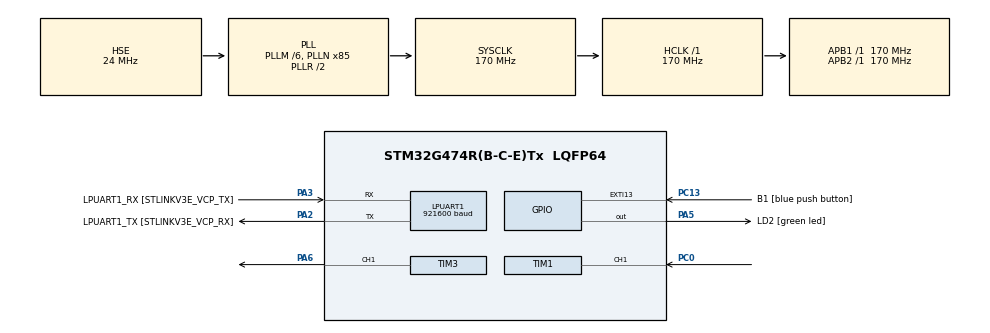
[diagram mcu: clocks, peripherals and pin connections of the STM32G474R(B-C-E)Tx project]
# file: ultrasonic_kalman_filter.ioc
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Dma.LPUART1_TX.0.Direction=DMA_MEMORY_TO_PERIPH
Dma.LPUART1_TX.0.EventEnable=DISABLE
Dma.LPUART1_TX.0.Instance=DMA1_Channel1
Dma.LPUART1_TX.0.MemDataAlignment=DMA_MDATAALIGN_BYTE
Dma.LPUART1_TX.0.MemInc=DMA_MINC_ENABLE
Dma.LPUART1_TX.0.Mode=DMA_NORMAL
Dma.LPUART1_TX.0.PeriphDataAlignment=DMA_PDATAALIGN_BYTE
Dma.LPUART1_TX.0.PeriphInc=DMA_PINC_DISABLE
Dma.LPUART1_TX.0.Polarity=HAL_DMAMUX_REQ_GEN_RISING
Dma.LPUART1_TX.0.Priority=DMA_PRIORITY_MEDIUM
Dma.LPUART1_TX.0.RequestNumber=1
Dma.LPUART1_TX.0.SignalID=NONE
Dma.LPUART1_TX.0.SyncEnable=DISABLE
Dma.LPUART1_TX.0.SyncPolarity=HAL_DMAMUX_SYNC_NO_EVENT
Dma.LPUART1_TX.0.SyncRequestNumber=1
Dma.LPUART1_TX.0.SyncSignalID=NONE
Dma.Request0=LPUART1_TX
LPUART1.BaudRate=921600
Mcu.Family=STM32G4
Mcu.Name=STM32G474R(B-C-E)Tx
Mcu.Package=LQFP64
NVIC.DMA1_Channel1_IRQn=true\:0\:0\:false\:false\:true\:false\:true\:true
NVIC.EXTI15_10_IRQn=true\:0\:0\:false\:false\:true\:true\:true\:true
NVIC.LPUART1_IRQn=true\:0\:0\:false\:false\:true\:true\:true\:true
NVIC.PriorityGroup=NVIC_PRIORITYGROUP_4
NVIC.TIM1_CC_IRQn=true\:0\:0\:false\:false\:true\:true\:true\:true
NVIC.TIM4_IRQn=true\:0\:0\:false\:false\:true\:true\:true\:true
PA13.GPIO_Label=T_SWDIO
PA13.Signal=SYS_JTMS-SWDIO
PA14.GPIO_Label=T_SWCLK
PA14.Signal=SYS_JTCK-SWCLK
PA2.GPIO_Label=LPUART1_TX [STLINKV3E_VCP_RX]
PA2.Mode=Asynchronous
PA2.Signal=LPUART1_TX
PA3.GPIO_Label=LPUART1_RX [STLINKV3E_VCP_TX]
PA3.Mode=Asynchronous
PA3.Signal=LPUART1_RX
PA5.GPIO_Label=LD2 [green led]
PA5.Signal=GPIO_Output
PA6.Signal=S_TIM3_CH1
PB3.GPIO_Label=T_SWO
PB3.Signal=SYS_JTDO-SWO
PC0.Signal=S_TIM1_CH1
PC13.GPIO_Label=B1 [blue push button]
PC13.Signal=GPXTI13
PC14-OSC32_IN.GPIO_Label=RCC_OSC32_IN
PC14-OSC32_IN.Signal=RCC_OSC32_IN
PC15-OSC32_OUT.GPIO_Label=RCC_OSC32_OUT
PC15-OSC32_OUT.Signal=RCC_OSC32_OUT
PF0-OSC_IN.GPIO_Label=RCC_OSC_IN
PF0-OSC_IN.Mode=HSE-External-Oscillator
PF0-OSC_IN.Signal=RCC_OSC_IN
PF1-OSC_OUT.GPIO_Label=RCC_OSC_OUT
PF1-OSC_OUT.Mode=HSE-External-Oscillator
PF1-OSC_OUT.Signal=RCC_OSC_OUT
ProjectManager.HeapSize=0x200
ProjectManager.StackSize=0x400
ProjectManager.TargetToolchain=STM32CubeIDE
RCC.ADC12Freq_Value=170000000
RCC.ADC345Freq_Value=170000000
RCC.AHBFreq_Value=170000000
RCC.APB1Freq_Value=170000000
RCC.APB1TimFreq_Value=170000000
RCC.APB2Freq_Value=170000000
RCC.APB2TimFreq_Value=170000000
RCC.CortexFreq_Value=170000000
RCC.EXTERNAL_CLOCK_VALUE=12288000
RCC.HCLKFreq_Value=170000000
RCC.HSE_VALUE=24000000
RCC.HSI48_VALUE=48000000
RCC.HSI_VALUE=16000000
RCC.LSE_VALUE=32768
RCC.PLLM=RCC_PLLM_DIV6
RCC.PLLN=85
RCC.PLLSourceVirtual=RCC_PLLSOURCE_HSE
RCC.RTCClockSelection=RCC_RTCCLKSOURCE_LSE
RCC.SYSCLKFreq_VALUE=170000000
RCC.SYSCLKSource=RCC_SYSCLKSOURCE_PLLCLK
RCC.USBFreq_Value=170000000
RCC.VCOOutputFreq_Value=340000000
SH.S_TIM1_CH1.0=TIM1_CH1,PWM_Input_1
SH.S_TIM3_CH1.0=TIM3_CH1,PWM Generation1 CH1
TIM1.Prescaler=169
TIM3.Channel-PWM\ Generation1\ CH1=TIM_CHANNEL_1
TIM3.PeriodNoDither=59999
TIM3.Prescaler=169
TIM3.PulseNoDither_1=10
TIM4.PeriodNoDither=999
TIM4.Prescaler=169
VP_SYS_VS_DBSignals.Mode=DisableDeadBatterySignals
VP_TIM3_VS_ClockSourceINT.Mode=Internal
VP_TIM4_VS_ClockSourceINT.Mode=Internal
board=NUCLEO-G474RE

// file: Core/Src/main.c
/* USER CODE BEGIN Header */
/**
 ******************************************************************************
 * @file           : main.c
 * @brief          : Main program body
 ******************************************************************************
 * @attention
 *
 * Copyright (c) 2026 STMicroelectronics.
 * All rights reserved.
 *
 * This software is licensed under terms that can be found in the LICENSE file
 * in the root directory of this software component.
 * If no LICENSE file comes with this software, it is provided AS-IS.
 *
 ******************************************************************************
 */
/* USER CODE END Header */
#include "main.h"
#include "dma.h"
#include "usart.h"
#include "tim.h"
#include "gpio.h"

/* USER CODE BEGIN Includes */
#include "Ultrasonic.h"
#include "kalman_filter.h"
/* USER CODE END Includes */

/* USER CODE BEGIN PD */
#pragma pack(push, 1)
typedef struct {
	uint16_t header;       // 0xABCD (2 bytes)
	float raw_pos;         // Measured z_k (4 bytes)
	float kf_zero_pos;     // Zero-order x[0] (4 bytes)
	float kf_first_pos;    // First-order x[0] (4 bytes)
	float kf_first_vel;    // First-order x[1] (4 bytes)
	float kf_msd_pos;      // MSD x[0] (4 bytes)
	float kf_msd_vel;      // MSD x[1] (4 bytes)
	uint8_t footer;        // 0x7F (1 byte)
} TelemetryFrame_t;        // Total: 27 bytes
#pragma pack(pop)
/* USER CODE END PD */

/* USER CODE BEGIN PV */
Ultrasonic_HandleTypeDef hus1;
Kalman_HandleTypeDef hkf_zero, hkf_first, hkf_msd;

const float M_KG = 0.339f;
//const float M_KG = 1e-9f;
const float K_NM = 29.32750224f;
const float C_NSM = 0.00002f;
//const float F_GRAVITY = 0.0f;
//const float F_GRAVITY = 0.5f * 9.80665f; // Newtons
const float F_GRAVITY = 0.339f * 9.80665f; // Newtons

TelemetryFrame_t txFrame = { .header = 0xABCD, .footer = 0x7F };
/* USER CODE END PV */

void SystemClock_Config(void);

int main(void) {

	/* MCU Configuration--------------------------------------------------------*/

	/* Reset of all peripherals, Initializes the Flash interface and the Systick. */
	HAL_Init();

	/* Configure the system clock */
	SystemClock_Config();

	/* Initialize all configured peripherals */
	MX_GPIO_Init();
	MX_DMA_Init();
	MX_TIM1_Init();
	MX_TIM3_Init();
	MX_TIM4_Init();
	MX_LPUART1_UART_Init();
	/* USER CODE BEGIN 2 */
	// 1. Initialize Library Handles
	Ultrasonic_Init(&hus1, &htim3, TIM_CHANNEL_1, &htim1, TIM_CHANNEL_1);
	Ultrasonic_StartAutonomous(&hus1);

	// 2. Initialize all 3 Kalman Filter Models
	// 2. Initialize all 3 Kalman Filter Models (Unit: Meters)
	// In main.c, around line 121
	float p_start = 0.1134f; // Matches calculated static deflection (Mg/K)
	float dt = 0.001f;     // 1000Hz sampling

	// In main.c, around lines 124-126
	float R = 9e-6f; // Standard for 3mm sensor resolution
	float Q_p = 1e-6f; // Increase 100x to follow sensor faster
	float Q_v = 1e-5f; // Increase 100x to allow velocity changes

	// Adjusted R to 9e-6f to match 0.003m sensor resolution
	Kalman_InitZeroOrder(&hkf_zero, p_start, Q_p, R);
	Kalman_InitFirstOrder(&hkf_first, p_start, dt, Q_p, Q_v, R);
	Kalman_InitMSD(&hkf_msd, p_start, dt, M_KG, C_NSM, K_NM, Q_p, Q_v, R);

	// 3. Start 1000Hz Timer Interrupt (Crucial)
	if (HAL_TIM_Base_Start_IT(&htim4) != HAL_OK) {
		Error_Handler();
	}
	/* USER CODE END 2 */

	/* Infinite loop */
	while (1) {

	}
}

void SystemClock_Config(void) {
	RCC_OscInitTypeDef RCC_OscInitStruct = { 0 };
	RCC_ClkInitTypeDef RCC_ClkInitStruct = { 0 };

	/** Configure the main internal regulator output voltage
	 */
	HAL_PWREx_ControlVoltageScaling(PWR_REGULATOR_VOLTAGE_SCALE1_BOOST);

	/** Initializes the RCC Oscillators according to the specified parameters
	 * in the RCC_OscInitTypeDef structure.
	 */
	RCC_OscInitStruct.OscillatorType = RCC_OSCILLATORTYPE_HSE;
	RCC_OscInitStruct.HSEState = RCC_HSE_ON;
	RCC_OscInitStruct.PLL.PLLState = RCC_PLL_ON;
	RCC_OscInitStruct.PLL.PLLSource = RCC_PLLSOURCE_HSE;
	RCC_OscInitStruct.PLL.PLLM = RCC_PLLM_DIV6;
	RCC_OscInitStruct.PLL.PLLN = 85;
	RCC_OscInitStruct.PLL.PLLP = RCC_PLLP_DIV2;
	RCC_OscInitStruct.PLL.PLLQ = RCC_PLLQ_DIV2;
	RCC_OscInitStruct.PLL.PLLR = RCC_PLLR_DIV2;
	if (HAL_RCC_OscConfig(&RCC_OscInitStruct) != HAL_OK) {
		Error_Handler();
	}

	/** Initializes the CPU, AHB and APB buses clocks
	 */
	RCC_ClkInitStruct.ClockType = RCC_CLOCKTYPE_HCLK | RCC_CLOCKTYPE_SYSCLK
			| RCC_CLOCKTYPE_PCLK1 | RCC_CLOCKTYPE_PCLK2;
	RCC_ClkInitStruct.SYSCLKSource = RCC_SYSCLKSOURCE_PLLCLK;
	RCC_ClkInitStruct.AHBCLKDivider = RCC_SYSCLK_DIV1;
	RCC_ClkInitStruct.APB1CLKDivider = RCC_HCLK_DIV1;
	RCC_ClkInitStruct.APB2CLKDivider = RCC_HCLK_DIV1;

	if (HAL_RCC_ClockConfig(&RCC_ClkInitStruct, FLASH_LATENCY_4) != HAL_OK) {
		Error_Handler();
	}
}

/* USER CODE BEGIN 4 */
void HAL_TIM_PeriodElapsedCallback(TIM_HandleTypeDef *htim) {
	if (htim->Instance == TIM4) {
		// 1. SI Unit Conversion (mm to m)
		float z = (hus1.distance_mm * 0.001f) - 0.105f;

		// 2. State Propagation and Update
		// Note: Kalman_Update returns x[0], but internal state x[1] is also updated
		float z_zero = Kalman_Update(&hkf_zero, 0.0f, z);
		float z_first = Kalman_Update(&hkf_first, 0.0f, z);
		float z_msd = Kalman_Update(&hkf_msd, F_GRAVITY, z);

		// 3. Mapping Variables to Telemetry Frame
		txFrame.raw_pos = z;
		txFrame.kf_zero_pos = z_zero;
		txFrame.kf_first_pos = z_first;
		txFrame.kf_first_vel = hkf_first.x[1]; // Velocity State (m/s)
		txFrame.kf_msd_pos = z_msd;
		txFrame.kf_msd_vel = hkf_msd.x[1];   // Velocity State (m/s)

		// 4. Non-Blocking Transmission
		HAL_UART_Transmit_DMA(&hlpuart1, (uint8_t*) &txFrame, sizeof(txFrame));
	}
}

void HAL_TIM_IC_CaptureCallback(TIM_HandleTypeDef *htim) {
	// Delegate Input Capture to the library handler [cite: 1006]
	if (htim->Instance == TIM1) {
		Ultrasonic_CaptureCallback(&hus1, htim);
	}
}
/* USER CODE END 4 */

void Error_Handler(void) {
	__disable_irq();
	while (1) {
	}
}
